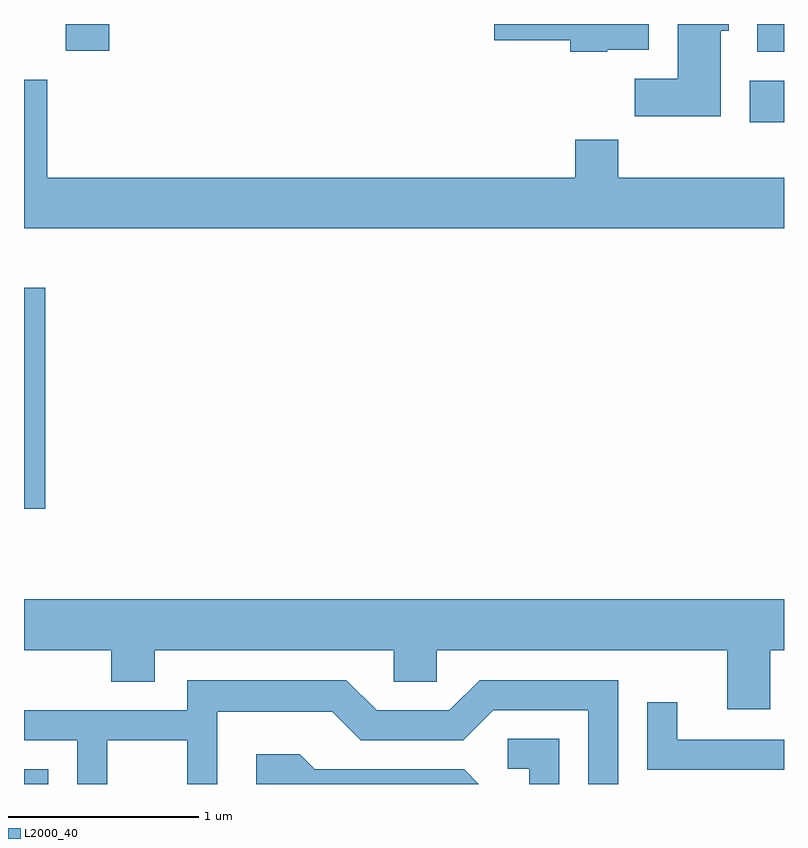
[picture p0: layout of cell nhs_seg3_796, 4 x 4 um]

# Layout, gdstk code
import gdstk
lib = gdstk.Library(unit=1e-6, precision=1e-09)
def R(c, l, rs):  # rectangles x0, y0, x1, y1
    for r in rs: c.add(gdstk.rectangle(r[:2], r[2:], *l))
def P(c, l, *ps):  # polygons
    for p in ps: c.add(gdstk.Polygon(p, *l))
L2000_40 = (2000, 40)

nhs_seg3_796 = lib.new_cell('nhs_seg3_796')
R(nhs_seg3_796, L2000_40, [(207.611,1211.892,207.739,1211.969), (207.611,1213.341,207.724,1214.504), (211.431,1215.376,211.611,1215.594), (211.471,1215.746,211.611,1215.892), (207.831,1215.751,208.059,1215.892)])
P(nhs_seg3_796, L2000_40, [(211.279,1215.856),(211.319,1215.856),(211.319,1215.892),(211.051,1215.892),(211.051,1215.604),(210.826,1215.604),(210.826,1215.406),(211.279,1215.406)],
  [(210.68,1215.756),(210.899,1215.756),(210.899,1215.892),(210.086,1215.892),(210.086,1215.806),(210.486,1215.806),(210.486,1215.746),(210.68,1215.746)],
  [(211.611,1215.084),(210.739,1215.084),(210.739,1215.284),(210.511,1215.284),(210.511,1215.084),(207.734,1215.084),(207.734,1215.599),(207.611,1215.599),(207.611,1214.816),(211.611,1214.816)],
  [(211.539,1212.596),(211.611,1212.596),(211.611,1212.864),(207.611,1212.864),(207.611,1212.596),(208.071,1212.596),(208.071,1212.431),(208.299,1212.431),(208.299,1212.596),(209.556,1212.596),(209.556,1212.431),(209.784,1212.431),(209.784,1212.596),(211.311,1212.596),(211.311,1212.286),(211.539,1212.286)],
  [(208.049,1212.121),(208.471,1212.121),(208.471,1211.892),(208.629,1211.892),(208.629,1212.271),(209.234,1212.271),(209.384,1212.121),(209.922,1212.121),(210.082,1212.281),(210.581,1212.281),(210.581,1211.892),(210.739,1211.892),(210.739,1212.439),(210.009,1212.439),(209.849,1212.279),(209.467,1212.279),(209.307,1212.439),(208.471,1212.439),(208.471,1212.279),(207.611,1212.279),(207.611,1212.121),(207.891,1212.121),(207.891,1211.892),(208.049,1211.892)],
  [(211.611,1212.124),(211.049,1212.124),(211.049,1212.323),(210.891,1212.323),(210.891,1211.966),(211.611,1211.966)],
  [(210.429,1212.129),(210.158,1212.129),(210.158,1211.971),(210.271,1211.971),(210.271,1211.892),(210.429,1211.892)],
  [(209.927,1211.969),(209.142,1211.969),(209.062,1212.049),(208.833,1212.049),(208.833,1211.892),(210.004,1211.892)])

lib.write_gds('nhs_seg3_796.gds')
